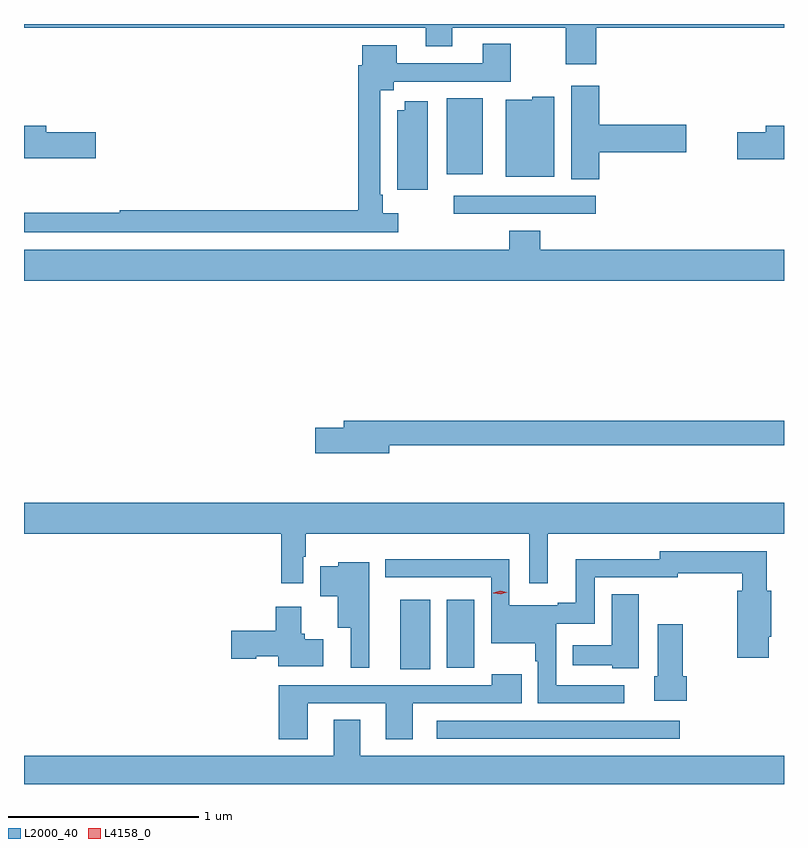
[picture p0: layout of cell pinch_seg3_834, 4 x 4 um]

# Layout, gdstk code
import gdstk
lib = gdstk.Library(unit=1e-6, precision=1e-09)
def R(c, l, rs):  # rectangles x0, y0, x1, y1
    for r in rs: c.add(gdstk.rectangle(r[:2], r[2:], *l))
def P(c, l, *ps):  # polygons
    for p in ps: c.add(gdstk.Polygon(p, *l))
L2000_40 = (2000, 40)
L4158_0 = (4158, 0)

pinch_seg3_834 = lib.new_cell('pinch_seg3_834')
R(pinch_seg3_834, L2000_40, [(726.081,731.805,727.36,731.901), (725.888,732.172,726.046,732.538), (726.134,732.18,726.277,732.538), (726.171,734.568,726.916,734.664), (726.134,734.777,726.322,735.175)])
P(pinch_seg3_834, L2000_40, [(726.92,735.548),(727.908,735.548),(727.908,735.567),(723.908,735.567),(723.908,735.548),(726.023,735.548),(726.023,735.449),(726.163,735.449),(726.163,735.548),(726.76,735.548),(726.76,735.354),(726.92,735.354)],
  [(725.878,734.572),(725.796,734.572),(725.796,734.668),(725.784,734.668),(725.784,735.218),(725.854,735.218),(725.854,735.264),(726.471,735.264),(726.471,735.463),(726.323,735.463),(726.323,735.36),(725.869,735.36),(725.869,735.454),(725.687,735.454),(725.687,735.35),(725.668,735.35),(725.668,734.588),(724.412,734.588),(724.412,734.573),(723.908,734.573),(723.908,734.472),(725.878,734.472)],
  [(726.935,734.891),(727.393,734.891),(727.393,735.038),(726.935,735.038),(726.935,735.241),(726.788,735.241),(726.788,734.749),(726.935,734.749)],
  [(726.7,735.184),(726.582,735.184),(726.582,735.169),(726.443,735.169),(726.443,734.762),(726.7,734.762)],
  [(726.034,735.161),(725.912,735.161),(725.912,735.112),(725.873,735.112),(725.873,734.694),(726.034,734.694)],
  [(727.908,735.032),(727.811,735.032),(727.811,734.996),(727.662,734.996),(727.662,734.854),(727.908,734.854)],
  [(724.285,734.996),(724.024,734.996),(724.024,735.032),(723.908,735.032),(723.908,734.861),(724.285,734.861)],
  [(727.908,734.38),(726.626,734.38),(726.626,734.479),(726.461,734.479),(726.461,734.38),(723.908,734.38),(723.908,734.216),(727.908,734.216)],
  [(725.83,733.35),(727.908,733.35),(727.908,733.478),(725.591,733.478),(725.591,733.442),(725.442,733.442),(725.442,733.307),(725.83,733.307)],
  [(725.379,732.762),(725.392,732.762),(725.392,732.884),(726.567,732.884),(726.567,732.624),(726.664,732.624),(726.664,732.884),(727.908,732.884),(727.908,733.048),(723.908,733.048),(723.908,732.884),(725.263,732.884),(725.263,732.624),(725.379,732.624)],
  [(727.066,732.087),(726.708,732.087),(726.708,732.411),(726.913,732.411),(726.913,732.654),(727.35,732.654),(727.35,732.676),(727.689,732.676),(727.689,732.583),(727.663,732.583),(727.663,732.231),(727.828,732.231),(727.828,732.343),(727.841,732.343),(727.841,732.583),(727.817,732.583),(727.817,732.792),(727.254,732.792),(727.254,732.751),(726.812,732.751),(726.812,732.52),(726.716,732.52),(726.716,732.507),(726.462,732.507),(726.462,732.751),(725.81,732.751),(725.81,732.654),(726.366,732.654),(726.366,732.308),(726.6,732.308),(726.6,732.212),(726.612,732.212),(726.612,731.991),(727.066,731.991)],
  [(725.725,732.733),(725.562,732.733),(725.562,732.712),(725.468,732.712),(725.468,732.554),(725.558,732.554),(725.558,732.389),(725.627,732.389),(725.627,732.18),(725.725,732.18)],
  [(727.144,732.565),(727.001,732.565),(727.001,732.298),(726.795,732.298),(726.795,732.191),(727.005,732.191),(727.005,732.176),(727.144,732.176)],
  [(725.482,732.328),(725.386,732.328),(725.386,732.357),(725.368,732.357),(725.368,732.499),(725.234,732.499),(725.234,732.374),(724.998,732.374),(724.998,732.227),(725.13,732.227),(725.13,732.239),(725.246,732.239),(725.246,732.188),(725.482,732.188)],
  [(727.397,732.135),(727.374,732.135),(727.374,732.409),(727.244,732.409),(727.244,732.135),(727.226,732.135),(727.226,732.005),(727.397,732.005)],
  [(725.401,731.991),(725.813,731.991),(725.813,731.802),(725.953,731.802),(725.953,731.991),(726.527,731.991),(726.527,732.145),(726.371,732.145),(726.371,732.087),(725.249,732.087),(725.249,731.802),(725.401,731.802)],
  [(727.908,731.716),(725.677,731.716),(725.677,731.906),(725.537,731.906),(725.537,731.716),(723.908,731.716),(723.908,731.567),(727.908,731.567)])
P(pinch_seg3_834, L4158_0, [(726.416,732.565),(726.379,732.572),(726.379,732.573),(726.379,732.573),(726.414,732.585),(726.451,732.577),(726.451,732.577),(726.451,732.577)])

lib.write_gds('pinch_seg3_834.gds')
